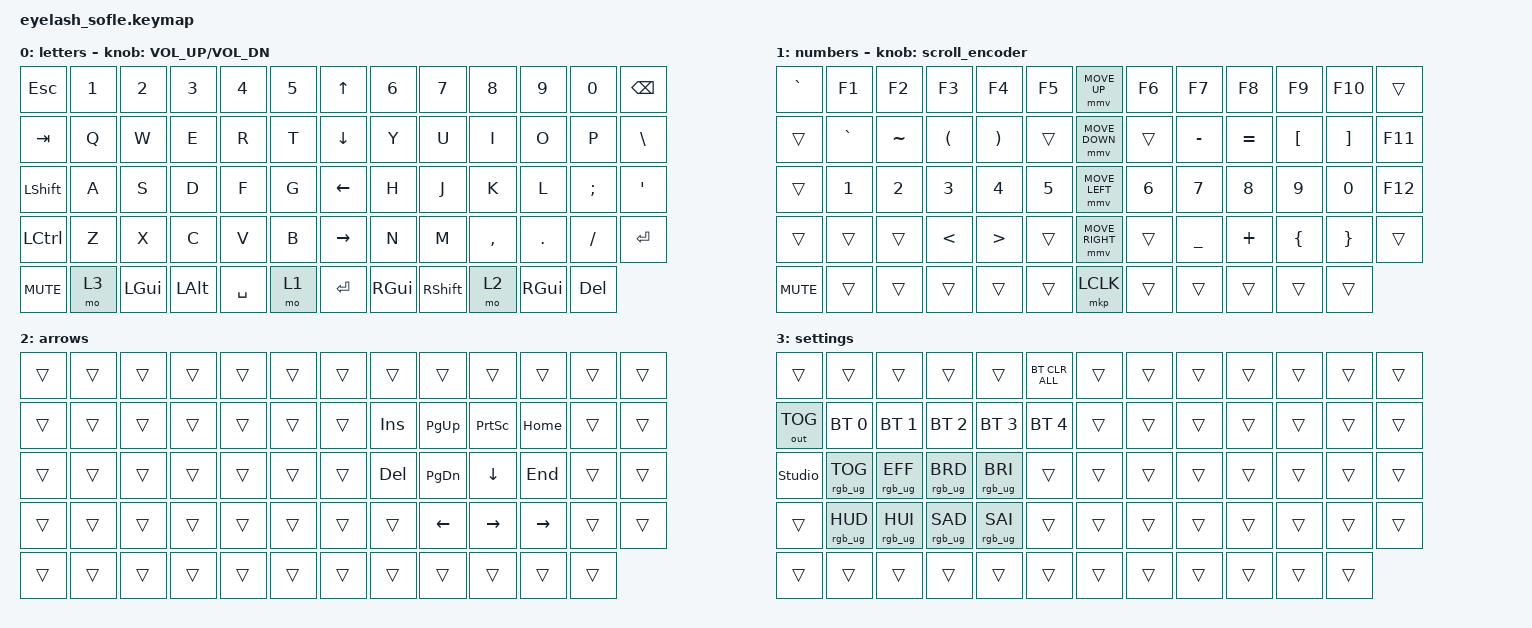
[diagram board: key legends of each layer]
#include <dt-bindings/zmk/mouse.h>
#include <input/processors.dtsi>
#include <behaviors.dtsi>
#include <dt-bindings/zmk/bt.h>
#include <dt-bindings/zmk/keys.h>
#include <dt-bindings/zmk/outputs.h>
#include <dt-bindings/zmk/pointing.h>
#include <dt-bindings/zmk/pointing.h>
#include <dt-bindings/zmk/pointing.h>
#include <dt-bindings/zmk/rgb.h>

/*

   &mmv_input_listener {
       input-processors = <&zip_xy_scaler 2 1>;
   };

   &msc_input_listener {
       input-processors = <&zip_xy_scaler 2 1>;
   };

 */

#define ZMK_MOUSE_DEFAULT_MOVE_VAL 1200  // 600
#define ZMK_MOUSE_DEFAULT_SCRL_VAL 20    // 10

/ {
    behaviors {
        mmv {
            acceleration-exponent = <1>;      // 1
            time-to-max-speed-ms = <900>;    // 40
            delay-ms = <0>;                   // 0
        };

        msc {
            acceleration-exponent = <1>;      // 0
            time-to-max-speed-ms = <400>;      // 500
            delay-ms = <0>;                   //   10
        };
    };

    scroll_encoder: scroll_encoder {
        compatible = "zmk,behavior-sensor-rotate";
        #sensor-binding-cells = <0>;
        bindings = <&msc SCRL_DOWN>, <&msc SCRL_UP>;

        tap-ms = <30>;
    };

    keymap {
        compatible = "zmk,keymap";

        letters {
            bindings = <
&kp ESC           &kp N1  &kp N2        &kp N3        &kp N4     &kp N5    &kp UP_ARROW     &kp N6         &kp N7           &kp N8     &kp N9         &kp N0      &kp BACKSPACE
&kp TAB           &kp Q   &kp W         &kp E         &kp R      &kp T     &kp DOWN_ARROW   &kp Y          &kp U            &kp I      &kp O          &kp P       &kp BSLH
&kp LEFT_SHIFT    &kp A   &kp S         &kp D         &kp F      &kp G     &kp LEFT_ARROW   &kp H          &kp J            &kp K      &kp L          &kp SEMI    &kp APOS
&kp LEFT_CONTROL  &kp Z   &kp X         &kp C         &kp V      &kp B     &kp RIGHT_ARROW  &kp N          &kp M            &kp COMMA  &kp DOT        &kp FSLH    &kp ENTER
&kp C_MUTE        &mo 3   &kp LEFT_GUI  &kp LEFT_ALT  &kp SPACE  &mo 1     &kp ENTER        &kp RIGHT_GUI  &kp RIGHT_SHIFT  &mo 2      &kp RIGHT_GUI  &kp DELETE
            >;

            sensor-bindings = <&inc_dec_kp C_VOLUME_UP C_VOL_DN>;
            display-name = "letters";
        };

        numbers {
            bindings = <
&kp GRAVE   &kp F1        &kp F2        &kp F3                &kp F4                 &kp F5          &mmv MOVE_UP     &kp F6        &kp F7        &kp F8        &kp F9            &kp F10            &trans
&trans      &kp GRAVE     &kp TILDE     &kp LEFT_PARENTHESIS  &kp RIGHT_PARENTHESIS  &trans          &mmv MOVE_DOWN   &trans        &kp MINUS     &kp EQUAL     &kp LEFT_BRACKET  &kp RIGHT_BRACKET  &kp F11
&trans      &kp NUMBER_1  &kp NUMBER_2  &kp NUMBER_3          &kp NUMBER_4           &kp NUMBER_5    &mmv MOVE_LEFT   &kp NUMBER_6  &kp NUMBER_7  &kp NUMBER_8  &kp NUMBER_9      &kp NUMBER_0       &kp F12
&trans      &trans        &trans        &kp LESS_THAN         &kp GREATER_THAN       &trans          &mmv MOVE_RIGHT  &trans        &kp UNDER     &kp PLUS      &kp LEFT_BRACE    &kp RIGHT_BRACE    &trans
&kp C_MUTE  &trans        &trans        &trans                &trans                 &trans          &mkp LCLK        &trans        &trans        &trans        &trans            &trans
            >;

            display-name = "numbers";
            sensor-bindings = <&scroll_encoder>;
        };

        arrows {
            bindings = <
&trans  &trans  &trans  &trans  &trans  &trans    &trans  &trans      &trans         &trans           &trans     &trans  &trans
&trans  &trans  &trans  &trans  &trans  &trans    &trans  &kp INSERT  &kp PAGE_UP    &kp PRINTSCREEN  &kp HOME   &trans  &trans
&trans  &trans  &trans  &trans  &trans  &trans    &trans  &kp DELETE  &kp PAGE_DOWN  &kp DOWN_ARROW   &kp END    &trans  &trans
&trans  &trans  &trans  &trans  &trans  &trans    &trans  &trans      &kp LEFT       &kp RIGHT        &kp RIGHT  &trans  &trans
&trans  &trans  &trans  &trans  &trans  &trans    &trans  &trans      &trans         &trans           &trans     &trans
            >;
        };

        settings {
            bindings = <
&trans          &trans           &trans           &trans           &trans           &bt BT_CLR_ALL    &trans  &trans  &trans  &trans  &trans  &trans  &trans
&out OUT_TOG    &bt BT_SEL 0     &bt BT_SEL 1     &bt BT_SEL 2     &bt BT_SEL 3     &bt BT_SEL 4      &trans  &trans  &trans  &trans  &trans  &trans  &trans
&studio_unlock  &rgb_ug RGB_TOG  &rgb_ug RGB_EFF  &rgb_ug RGB_BRD  &rgb_ug RGB_BRI  &trans            &trans  &trans  &trans  &trans  &trans  &trans  &trans
&trans          &rgb_ug RGB_HUD  &rgb_ug RGB_HUI  &rgb_ug RGB_SAD  &rgb_ug RGB_SAI  &trans            &trans  &trans  &trans  &trans  &trans  &trans  &trans
&trans          &trans           &trans           &trans           &trans           &trans            &trans  &trans  &trans  &trans  &trans  &trans
            >;
        };
    };
};
